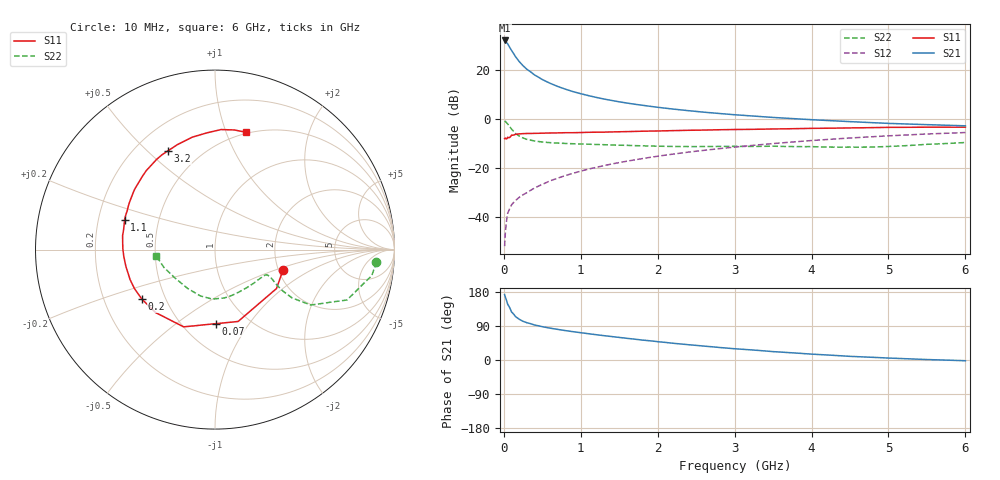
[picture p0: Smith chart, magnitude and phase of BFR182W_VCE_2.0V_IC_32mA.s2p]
! Infineon Technologies  Discrete & RF Semiconductors
! BFR182W
! VCE =  2.0 V,  IC =  32 mA
! Common Emitter S-Parameters:  Jan 2017
# GHz  S  MA  R  50
!  f  S11  S21  S12  S22
! GHz  MAG  ANG  MAG  ANG  MAG  ANG  MAG  ANG
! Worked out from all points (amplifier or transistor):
!   77 points, 10 MHz to 6 GHz, reference 50 ohm
!   highest |S21| = 32.0 dB at 10 MHz (marker M1)
!   |S21| within 3 dB of that: start of sweep to 79.6 MHz
!   unconditionally stable (mu >= 1): 347.6 MHz to 2.683 GHz
!   at 130 MHz: K = 0.63, MSG = 30.3 dB, |S12| = -34.1 dB
!   at 2.2 GHz: K = 1.05, MAG = 7.9 dB, |S12| = -14.4 dB
!   at 6 GHz: K = 0.95, MSG = 1.4 dB, |S12| = -5.6 dB
!   S11 on the Smith chart (normalised r, x): 10 MHz: 2.12, -0.57; 70 MHz: 0.72, -0.71; 200 MHz: 0.37, -0.27; 1.1 GHz: 0.31, +0.15; 3.2 GHz: 0.33, +0.58; 6 GHz: 0.49, +1.17
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0.01  0.3956 -16.6  39.97 172.6  0.0025 86.9  0.9021 -4.4
0.02  0.4056 -32.3  39.53 165.8  0.0048 82.0  0.8856 -9.4
0.05  0.4206 -72.2  34.15 147.1  0.0117 68.1  0.787 -20.9
0.07  0.4125 -89.0  30.07 140.4  0.014 64.5  0.7163 -24.0
0.1  0.4645 -112.1  25.04 126.6  0.0174 60.9  0.6154 -30.1
0.15  0.4821 -133.2  18.8 114.9  0.0213 58.1  0.5069 -32.1
0.2  0.4922 -145.9  14.8 107.5  0.0249 59.1  0.4439 -31.4
0.25  0.4987 -154.3  12.18 102.1  0.0281 60.3  0.406 -30.2
0.3  0.5018 -160.6  10.29 98.3  0.0311 62.3  0.3803 -28.8
0.4  0.5052 -169.3  7.875 92.3  0.0386 65.9  0.3525 -26.9
0.5  0.5095 -175.6  6.349 87.9  0.0458 68.1  0.3363 -26.1
0.6  0.5136 179.4  5.337 84.1  0.054 69.7  0.3261 -25.9
0.7  0.5162 175.2  4.594 80.8  0.0613 71.1  0.3196 -26.1
0.9  0.521 167.9  3.599 74.7  0.0771 72.1  0.3099 -27.9
1.1  0.5308 161.6  2.981 69.4  0.094 72.5  0.3032 -30.5
1.5  0.5445 151.0  2.227 59.6  0.1277 71.7  0.289 -37.8
2.1  0.5693 137.1  1.651 46.4  0.1811 68.3  0.2742 -53.0
3.1  0.6071 117.3  1.182 28.3  0.2739 59.9  0.2734 -82.3
3.2  0.6096 115.4  1.153 26.9  0.2834 58.9  0.2732 -85.1
4.1  0.6409 99.9  0.943 14.4  0.3691 49.6  0.2674 -111.1
5.1  0.6701 85.8  0.798 4.4  0.4572 38.1  0.2767 -147.8
6  0.6761 75.3  0.72 -1.9  0.5251 27.7  0.3282 -173.5
